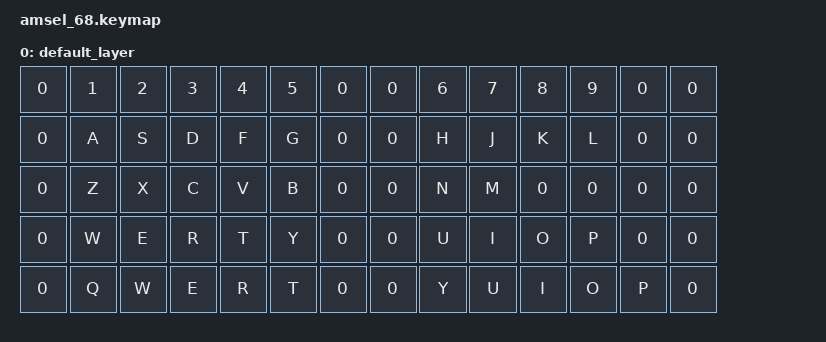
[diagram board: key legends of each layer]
// This file was generated from a template. Edit it to match your keyboard.
// See https://zmk.dev/docs/development/hardware-integration/new-shield for more instructions.

#include <behaviors.dtsi>
#include <dt-bindings/zmk/keys.h>

/ {
    // Define a default keymap here.
    // See https://zmk.dev/docs/development/hardware-integration/new-shield#default-keymap.
    keymap {
        compatible = "zmk,keymap";

        default_layer {
            bindings = <
                &kp N0 &kp N1 &kp N2 &kp N3 &kp N4 &kp N5 &kp N0 &kp N0 &kp N6 &kp N7 &kp N8 &kp N9 &kp N0 &kp N0
                &kp N0 &kp A  &kp S  &kp D  &kp F  &kp G  &kp N0 &kp N0 &kp H  &kp J  &kp K  &kp L  &kp N0 &kp N0
                &kp N0 &kp Z  &kp X  &kp C  &kp V  &kp B  &kp N0 &kp N0 &kp N  &kp M  &kp N0 &kp N0 &kp N0 &kp N0
                &kp N0 &kp W  &kp E  &kp R  &kp T  &kp Y  &kp N0 &kp N0 &kp U  &kp I  &kp O  &kp P  &kp N0 &kp N0
                &kp N0 &kp Q  &kp W  &kp E  &kp R  &kp T  &kp N0 &kp N0 &kp Y  &kp U  &kp I  &kp O  &kp P  &kp N0
            >;
        };
    };
};
